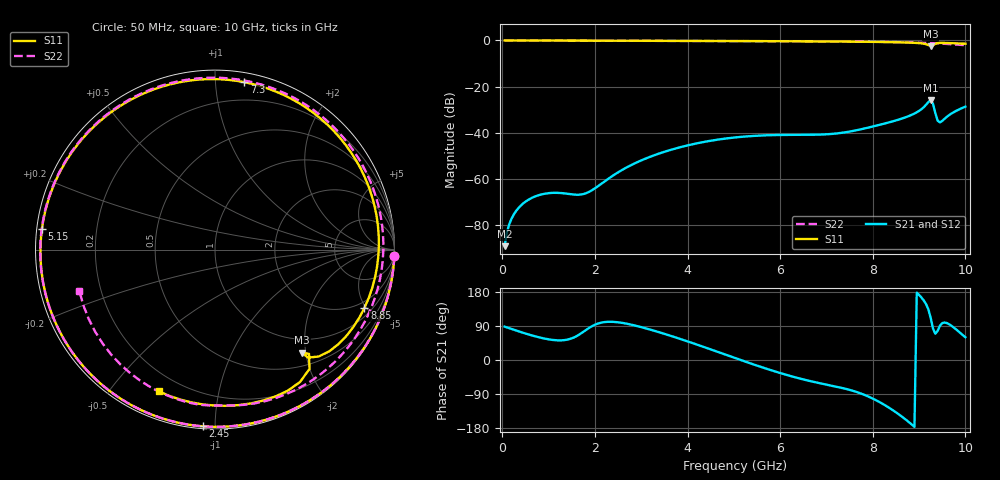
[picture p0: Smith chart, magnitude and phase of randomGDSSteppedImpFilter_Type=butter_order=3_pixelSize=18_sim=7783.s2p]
! freq	dB(S11)	phase(S11)	dB(S12)	phase(S12)
!  dB(S21)	phase(S21)	dB(S22)	phase(S22)
!S-par simulation data
#  GHz  S  DB  R 50
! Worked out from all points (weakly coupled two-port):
!   200 points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, 50 MHz to 10 GHz, reference 50 ohm
!   highest |S21| = -25.85 dB at 9.25 GHz (marker M1); lowest = -89.0 dB at 50 MHz (marker M2)
!   lowest |S11| = -2.5 dB at 9.25 GHz (marker M3), VSWR 7.09, Z = 36.4 - j96.7 ohm
!   |S11| at or under -10 dB: nowhere
!   |S22| runs from -2.0 to 0.0 dB; largest |S21 - S12| = 0
!   S11 on the Smith chart (normalised r, x): 50 MHz: 0, -56; 2.45 GHz: 0.01, -0.93; 5.15 GHz: 0.01, +0.06; 7.3 GHz: 0.07, +1.19; 8.85 GHz: 1.49, -4.85; 10 GHz: 0.12, -0.67
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0.05  -0.00 -2.0  -88.99 88.0  -88.99 88.0  -0.00 -2.2
0.15  -0.01 -6.1  -79.52 83.8  -79.52 83.8  -0.01 -6.5
0.4  -0.02 -16.2  -71.42 73.7  -71.42 73.7  -0.02 -17.3
0.7  -0.04 -28.1  -67.55 62.8  -67.55 62.8  -0.04 -30.1
1.75  -0.08 -68.6  -66.45 74.3  -66.45 74.3  -0.09 -73.9
2.45  -0.11 -94.0  -57.68 100.1  -57.68 100.1  -0.12 -101.9
3.4  -0.15 -126.8  -48.82 72.8  -48.82 72.8  -0.17 -138.9
4.25  -0.20 -155.5  -44.31 38.7  -44.31 38.7  -0.22 -172.5
5.05  -0.25 176.7  -41.91 4.1  -41.91 4.1  -0.27 154.2
5.15  -0.26 173.2  -41.72 -0.2  -41.72 -0.2  -0.28 149.8
6  -0.33 140.7  -40.88 -34.4  -40.88 -34.4  -0.34 110.4
6.7  -0.40 110.2  -40.80 -57.1  -40.80 -57.1  -0.40 74.4
7.3  -0.47 80.0  -40.05 -72.6  -40.05 -72.6  -0.45 41.1
7.85  -0.57 48.1  -37.95 -93.6  -37.95 -93.6  -0.53 8.6
8.35  -0.71 15.3  -35.44 -125.8  -35.44 -125.8  -0.65 -22.8
8.85  -0.98 -21.4  -32.10 -171.1  -32.10 -171.1  -0.88 -56.9
9.1  -1.39 -41.7  -28.88 157.3  -28.88 157.3  -1.06 -75.6
9.25  -2.47 -49.8  -25.85 111.4  -25.85 111.4  -1.22 -87.3
9.4  -1.14 -57.3  -34.67 76.7  -34.67 76.7  -1.26 -100.3
9.45  -1.07 -62.7  -35.45 90.2  -35.45 90.2  -1.32 -104.9
9.7  -1.18 -85.6  -31.59 90.2  -31.59 90.2  -1.63 -129.4
10  -1.41 -111.6  -28.63 60.1  -28.63 60.1  -2.05 -163.1
